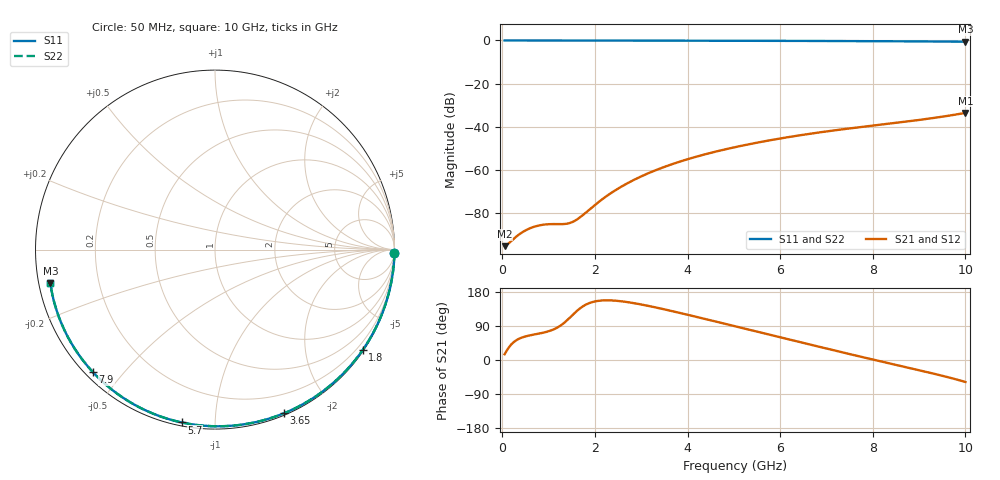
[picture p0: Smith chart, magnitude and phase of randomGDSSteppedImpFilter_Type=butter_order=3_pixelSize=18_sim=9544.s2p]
! freq	dB(S11)	phase(S11)	dB(S12)	phase(S12)
!  dB(S21)	phase(S21)	dB(S22)	phase(S22)
!S-par simulation data
#  GHz  S  DB  R 50
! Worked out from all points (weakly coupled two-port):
!   200 points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, 50 MHz to 10 GHz, reference 50 ohm
!   highest |S21| = -33.54 dB at 10 GHz (marker M1); lowest = -95.2 dB at 50 MHz (marker M2)
!   lowest |S11| = -0.6 dB at 10 GHz (marker M3), VSWR 30.21, Z = 1.67 - j5.01 ohm
!   |S11| at or under -10 dB: nowhere
!   |S22| runs from -0.6 to 0.0 dB; largest |S21 - S12| = 0
!   S11 on the Smith chart (normalised r, x): 50 MHz: open; 1.8 GHz: 0.03, -3.26; 3.65 GHz: 0.02, -1.51; 5.7 GHz: 0.02, -0.83; 7.9 GHz: 0.02, -0.42; 10 GHz: 0.03, -0.10
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0.05  -0.00 -1.0  -95.24 15.2  -95.24 15.2  -0.00 -1.0
0.45  -0.01 -8.7  -88.57 60.4  -88.57 60.4  -0.01 -8.7
0.85  -0.02 -16.3  -85.41 71.2  -85.41 71.2  -0.02 -16.3
1.3  -0.03 -24.8  -85.03 94.6  -85.03 94.6  -0.03 -24.8
1.75  -0.04 -33.2  -80.67 142.3  -80.67 142.3  -0.04 -33.2
1.8  -0.04 -34.1  -79.77 145.8  -79.77 145.8  -0.04 -34.1
2  -0.05 -37.8  -76.17 154.5  -76.17 154.5  -0.05 -37.8
2.2  -0.05 -41.5  -72.86 157.4  -72.86 157.4  -0.05 -41.5
2.55  -0.06 -47.8  -67.95 155.2  -67.95 155.2  -0.06 -47.8
2.95  -0.07 -55.0  -63.43 147.7  -63.43 147.7  -0.07 -55.0
3.4  -0.08 -62.9  -59.34 136.4  -59.34 136.4  -0.08 -62.9
3.65  -0.09 -67.2  -57.40 129.5  -57.40 129.5  -0.09 -67.2
4.3  -0.11 -78.2  -53.17 110.6  -53.17 110.6  -0.11 -78.2
5.05  -0.14 -90.5  -49.29 88.4  -49.29 88.4  -0.14 -90.6
5.7  -0.17 -100.9  -46.52 69.0  -46.52 69.0  -0.17 -101.0
6.2  -0.20 -108.7  -44.67 54.1  -44.67 54.1  -0.20 -108.8
6.7  -0.23 -116.5  -43.03 39.2  -43.03 39.2  -0.23 -116.5
7.3  -0.27 -125.7  -41.27 21.5  -41.27 21.5  -0.27 -125.7
7.9  -0.32 -134.8  -39.68 4.1  -39.68 4.1  -0.32 -134.9
8.35  -0.36 -141.7  -38.53 -8.6  -38.53 -8.6  -0.36 -141.8
9.2  -0.46 -155.1  -36.23 -32.7  -36.23 -32.7  -0.46 -155.2
10  -0.58 -168.5  -33.54 -58.0  -33.54 -58.0  -0.57 -168.6
